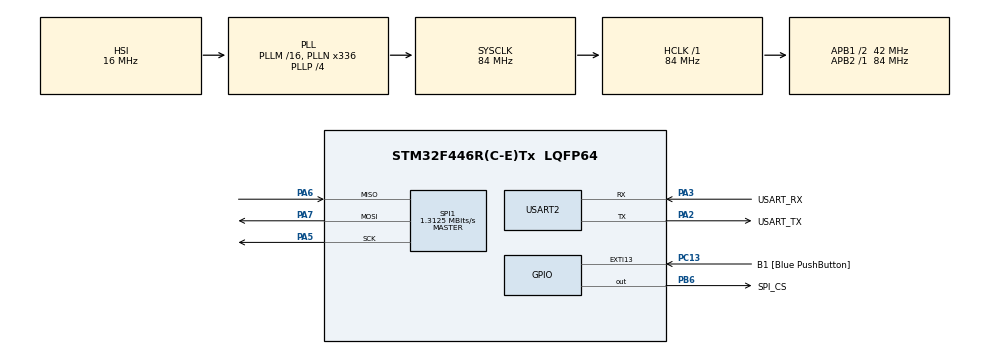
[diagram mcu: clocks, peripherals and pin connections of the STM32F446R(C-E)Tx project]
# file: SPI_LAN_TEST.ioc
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Mcu.Family=STM32F4
Mcu.Name=STM32F446R(C-E)Tx
Mcu.Package=LQFP64
NVIC.PriorityGroup=NVIC_PRIORITYGROUP_0
PA13.GPIO_Label=TMS
PA13.Mode=Serial_Wire
PA13.Signal=SYS_JTMS-SWDIO
PA14.GPIO_Label=TCK
PA14.Mode=Serial_Wire
PA14.Signal=SYS_JTCK-SWCLK
PA2.GPIO_Label=USART_TX
PA2.Mode=Asynchronous
PA2.Signal=USART2_TX
PA3.GPIO_Label=USART_RX
PA3.Mode=Asynchronous
PA3.Signal=USART2_RX
PA5.Mode=Full_Duplex_Master
PA5.Signal=SPI1_SCK
PA6.Mode=Full_Duplex_Master
PA6.Signal=SPI1_MISO
PA7.Mode=Full_Duplex_Master
PA7.Signal=SPI1_MOSI
PB3.GPIO_Label=SWO
PB3.Signal=SYS_JTDO-SWO
PB6.GPIO_Label=SPI_CS
PB6.Signal=GPIO_Output
PC13.GPIO_Label=B1 [Blue PushButton]
PC13.GPIO_ModeDefaultEXTI=GPIO_MODE_IT_FALLING
PC13.Signal=GPXTI13
PC14-OSC32_IN.Mode=LSE-External-Oscillator
PC14-OSC32_IN.Signal=RCC_OSC32_IN
PC15-OSC32_OUT.Mode=LSE-External-Oscillator
PC15-OSC32_OUT.Signal=RCC_OSC32_OUT
PH0-OSC_IN.Mode=HSE-External-Oscillator
PH0-OSC_IN.Signal=RCC_OSC_IN
PH1-OSC_OUT.Mode=HSE-External-Oscillator
PH1-OSC_OUT.Signal=RCC_OSC_OUT
ProjectManager.HeapSize=0x200
ProjectManager.StackSize=0x400
ProjectManager.TargetToolchain=STM32CubeIDE
RCC.48MHZClocksFreq_Value=84000000
RCC.AHBFreq_Value=84000000
RCC.APB1CLKDivider=RCC_HCLK_DIV2
RCC.APB1Freq_Value=42000000
RCC.APB1TimFreq_Value=84000000
RCC.APB2Freq_Value=84000000
RCC.APB2TimFreq_Value=84000000
RCC.CortexFreq_Value=84000000
RCC.FLatency-AdvancedSettings=FLASH_LATENCY_2
RCC.HCLKFreq_Value=84000000
RCC.HSE_VALUE=8000000
RCC.HSI_VALUE=16000000
RCC.PLLN=336
RCC.PLLP=RCC_PLLP_DIV4
RCC.SYSCLKFreq_VALUE=84000000
RCC.SYSCLKSource=RCC_SYSCLKSOURCE_PLLCLK
RCC.USBFreq_Value=168000000
RCC.VCOOutputFreq_Value=336000000
SPI1.BaudRatePrescaler=SPI_BAUDRATEPRESCALER_64
SPI1.CLKPhase=SPI_PHASE_2EDGE
SPI1.CLKPolarity=SPI_POLARITY_HIGH
SPI1.CalculateBaudRate=1.3125 MBits/s
SPI1.Direction=SPI_DIRECTION_2LINES
SPI1.Mode=SPI_MODE_MASTER
SPI1.VirtualType=VM_MASTER
USART2.VirtualMode=VM_ASYNC
board=NUCLEO-F446RE

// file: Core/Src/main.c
/* USER CODE BEGIN Header */
/**
  ******************************************************************************
  * @file           : main.c
  * @brief          : Main program body
  ******************************************************************************
  * @attention
  *
  * Copyright (c) 2023 STMicroelectronics.
  * All rights reserved.
  *
  * This software is licensed under terms that can be found in the LICENSE file
  * in the root directory of this software component.
  * If no LICENSE file comes with this software, it is provided AS-IS.
  *
  ******************************************************************************
  */
/* USER CODE END Header */
#include "main.h"

/* USER CODE BEGIN Includes */
#include "socket.h"
#include "w5500.h"

/* USER CODE END Includes */

SPI_HandleTypeDef hspi1;

UART_HandleTypeDef huart2;

void SystemClock_Config(void);
static void MX_GPIO_Init(void);
static void MX_USART2_UART_Init(void);
static void MX_SPI1_Init(void);

/* USER CODE BEGIN 0 */
static uint8_t MAC_address[6] = {0xAA, 0xBB, 0xCC, 0xDD, 0xEE, 0xFF}; // MAC
static uint8_t IP_address[4] = {192, 168, 0, 100}; // IP address
static uint8_t GW_address[4] = {192, 168, 0, 1}; // GW address
static uint8_t SUBNET_mask[4] = {255, 255, 255, 0}; // Subnet mask
uint16_t PORT = 50000; // port
static uint8_t SN = 0;

void W5500_init(void) {
  uint8_t v;
  setMR(MR_RST);

  v = getPHYCFGR() & PHYCFGR_RST;
  setPHYCFGR(v);
  v = getPHYCFGR() | ~PHYCFGR_RST;
  setPHYCFGR(v);

  setSHAR(MAC_address);
  setSIPR(IP_address);
  setGAR(GW_address);
  setSUBR(SUBNET_mask);

  setSn_KPALVTR(SN, 6);
  setRTR(2000);
  setRCR(8);
  setSIMR(0b00000010);
  setSn_IMR(SN, Sn_IR_TIMEOUT);
  setSn_IR(SN, 0x1f);
}

/* USER CODE END 0 */

int main(void)
{

  /* MCU Configuration--------------------------------------------------------*/

  /* Reset of all peripherals, Initializes the Flash interface and the Systick. */
  HAL_Init();

  /* Configure the system clock */
  SystemClock_Config();

  /* Initialize all configured peripherals */
  MX_GPIO_Init();
  MX_USART2_UART_Init();
  MX_SPI1_Init();
  /* USER CODE BEGIN 2 */

  W5500_init();

  socket(SN, Sn_MR_UDP, PORT, SF_IO_NONBLOCK);
  uint8_t srv_ip[] = {192,168,0,2};
  // connect(SN, srv_ip, 1234);
  uint8_t send_data[] = {'A', 'B', 'C'};
  // send(SN, send_data, 3);
  sendto(SN, send_data, 3, srv_ip, 1234);
  close(SN);

  /* USER CODE END 2 */

  /* Infinite loop */
  while (1)
  {

    HAL_Delay(1000);

  }
}

void SystemClock_Config(void)
{
  RCC_OscInitTypeDef RCC_OscInitStruct = {0};
  RCC_ClkInitTypeDef RCC_ClkInitStruct = {0};

  /** Configure the main internal regulator output voltage
  */
  __HAL_RCC_PWR_CLK_ENABLE();
  __HAL_PWR_VOLTAGESCALING_CONFIG(PWR_REGULATOR_VOLTAGE_SCALE3);

  /** Initializes the RCC Oscillators according to the specified parameters
  * in the RCC_OscInitTypeDef structure.
  */
  RCC_OscInitStruct.OscillatorType = RCC_OSCILLATORTYPE_HSI;
  RCC_OscInitStruct.HSIState = RCC_HSI_ON;
  RCC_OscInitStruct.HSICalibrationValue = RCC_HSICALIBRATION_DEFAULT;
  RCC_OscInitStruct.PLL.PLLState = RCC_PLL_ON;
  RCC_OscInitStruct.PLL.PLLSource = RCC_PLLSOURCE_HSI;
  RCC_OscInitStruct.PLL.PLLM = 16;
  RCC_OscInitStruct.PLL.PLLN = 336;
  RCC_OscInitStruct.PLL.PLLP = RCC_PLLP_DIV4;
  RCC_OscInitStruct.PLL.PLLQ = 2;
  RCC_OscInitStruct.PLL.PLLR = 2;
  if (HAL_RCC_OscConfig(&RCC_OscInitStruct) != HAL_OK)
  {
    Error_Handler();
  }

  /** Initializes the CPU, AHB and APB buses clocks
  */
  RCC_ClkInitStruct.ClockType = RCC_CLOCKTYPE_HCLK|RCC_CLOCKTYPE_SYSCLK
                              |RCC_CLOCKTYPE_PCLK1|RCC_CLOCKTYPE_PCLK2;
  RCC_ClkInitStruct.SYSCLKSource = RCC_SYSCLKSOURCE_PLLCLK;
  RCC_ClkInitStruct.AHBCLKDivider = RCC_SYSCLK_DIV1;
  RCC_ClkInitStruct.APB1CLKDivider = RCC_HCLK_DIV2;
  RCC_ClkInitStruct.APB2CLKDivider = RCC_HCLK_DIV1;

  if (HAL_RCC_ClockConfig(&RCC_ClkInitStruct, FLASH_LATENCY_2) != HAL_OK)
  {
    Error_Handler();
  }
}

static void MX_SPI1_Init(void)
{

  /* SPI1 parameter configuration*/
  hspi1.Instance = SPI1;
  hspi1.Init.Mode = SPI_MODE_MASTER;
  hspi1.Init.Direction = SPI_DIRECTION_2LINES;
  hspi1.Init.DataSize = SPI_DATASIZE_8BIT;
  hspi1.Init.CLKPolarity = SPI_POLARITY_HIGH;
  hspi1.Init.CLKPhase = SPI_PHASE_2EDGE;
  hspi1.Init.NSS = SPI_NSS_SOFT;
  hspi1.Init.BaudRatePrescaler = SPI_BAUDRATEPRESCALER_64;
  hspi1.Init.FirstBit = SPI_FIRSTBIT_MSB;
  hspi1.Init.TIMode = SPI_TIMODE_DISABLE;
  hspi1.Init.CRCCalculation = SPI_CRCCALCULATION_DISABLE;
  hspi1.Init.CRCPolynomial = 10;
  if (HAL_SPI_Init(&hspi1) != HAL_OK)
  {
    Error_Handler();
  }

}

static void MX_USART2_UART_Init(void)
{

  huart2.Instance = USART2;
  huart2.Init.BaudRate = 115200;
  huart2.Init.WordLength = UART_WORDLENGTH_8B;
  huart2.Init.StopBits = UART_STOPBITS_1;
  huart2.Init.Parity = UART_PARITY_NONE;
  huart2.Init.Mode = UART_MODE_TX_RX;
  huart2.Init.HwFlowCtl = UART_HWCONTROL_NONE;
  huart2.Init.OverSampling = UART_OVERSAMPLING_16;
  if (HAL_UART_Init(&huart2) != HAL_OK)
  {
    Error_Handler();
  }

}

static void MX_GPIO_Init(void)
{
  GPIO_InitTypeDef GPIO_InitStruct = {0};

  /* GPIO Ports Clock Enable */
  __HAL_RCC_GPIOC_CLK_ENABLE();
  __HAL_RCC_GPIOH_CLK_ENABLE();
  __HAL_RCC_GPIOA_CLK_ENABLE();
  __HAL_RCC_GPIOB_CLK_ENABLE();

  /*Configure GPIO pin Output Level */
  HAL_GPIO_WritePin(SPI_CS_GPIO_Port, SPI_CS_Pin, GPIO_PIN_RESET);

  /*Configure GPIO pin : B1_Pin */
  GPIO_InitStruct.Pin = B1_Pin;
  GPIO_InitStruct.Mode = GPIO_MODE_IT_FALLING;
  GPIO_InitStruct.Pull = GPIO_NOPULL;
  HAL_GPIO_Init(B1_GPIO_Port, &GPIO_InitStruct);

  /*Configure GPIO pin : SPI_CS_Pin */
  GPIO_InitStruct.Pin = SPI_CS_Pin;
  GPIO_InitStruct.Mode = GPIO_MODE_OUTPUT_PP;
  GPIO_InitStruct.Pull = GPIO_NOPULL;
  GPIO_InitStruct.Speed = GPIO_SPEED_FREQ_LOW;
  HAL_GPIO_Init(SPI_CS_GPIO_Port, &GPIO_InitStruct);

}

void Error_Handler(void)
{
  __disable_irq();
  while (1)
  {
  }
}
